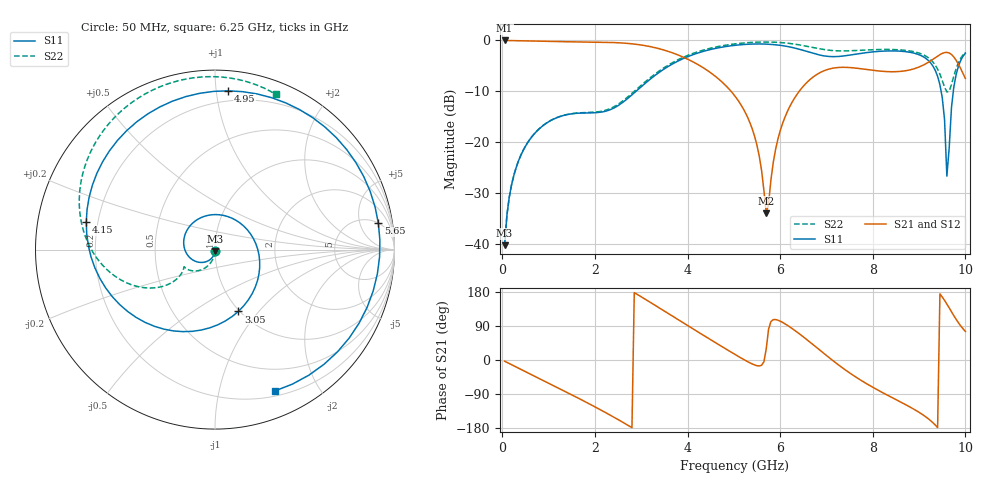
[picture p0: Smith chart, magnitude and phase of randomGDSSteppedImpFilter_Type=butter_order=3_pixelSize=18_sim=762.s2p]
! freq	dB(S11)	phase(S11)	dB(S12)	phase(S12)
!  dB(S21)	phase(S21)	dB(S22)	phase(S22)
!S-par simulation data
#  GHz  S  DB  R 50
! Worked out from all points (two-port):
!   200 points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, 50 MHz to 10 GHz, reference 50 ohm
!   highest |S21| = -0.01 dB at 50 MHz (marker M1); lowest = -33.9 dB at 5.7 GHz (marker M2)
!   |S21| within 3 dB of the highest: start of sweep to 3.837 GHz; 9.412 GHz to 9.726 GHz (313.2 MHz wide, 3.27 % of centre)
!   lowest |S11| = -40.2 dB at 50 MHz (marker M3), VSWR 1.02, Z = 49.9 - j0.975 ohm
!   |S11| at or under -10 dB: start of sweep to 2.884 GHz; 9.476 GHz to 9.739 GHz (262.9 MHz wide, 2.74 % of centre)
!   |S22| runs from -40.3 to -0.3 dB; largest |S21 - S12| = 0
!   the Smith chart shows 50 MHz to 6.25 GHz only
!   S11 on the Smith chart (normalised r, x): 50 MHz: 1.00, -0.02; 3.05 GHz: 0.99, -0.79; 4.15 GHz: 0.16, +0.10; 4.95 GHz: 0.13, +1.08; 5.65 GHz: 5, +10; 6.25 GHz: 0.25, -1.48
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0.05  -40.20 -93.2  -0.01 -3.1  -0.01 -3.1  -40.33 -89.3
0.2  -28.32 -105.6  -0.03 -12.4  -0.03 -12.4  -28.29 -98.7
0.5  -20.75 -130.2  -0.08 -30.8  -0.08 -30.8  -20.72 -112.1
1.75  -14.23 114.4  -0.30 -107.5  -0.30 -107.5  -14.16 -150.5
2.45  -13.05 16.1  -0.43 -153.7  -0.43 -153.7  -12.80 -144.5
3.05  -8.68 -69.3  -0.97 163.1  -0.97 163.1  -8.40 -146.4
3.4  -6.18 -111.4  -1.65 136.7  -1.65 136.7  -5.92 -157.3
4.15  -2.69 167.8  -4.36 79.7  -4.36 79.7  -2.44 169.4
4.95  -1.04 85.3  -10.08 20.1  -10.08 20.1  -0.76 130.7
5.05  -0.93 74.8  -11.23 12.8  -11.23 12.8  -0.65 125.9
5.65  -0.71 9.1  -29.48 -4.5  -29.48 -4.5  -0.31 96.9
5.7  -0.72 3.3  -33.90 30.0  -33.90 30.0  -0.31 94.5
6.25  -1.36 -67.2  -12.25 83.8  -12.25 83.8  -0.64 68.5
6.7  -2.49 -138.5  -7.26 41.6  -7.26 41.6  -1.37 49.8
7  -3.10 167.8  -5.77 11.8  -5.77 11.8  -1.85 40.1
7.45  -2.95 93.0  -5.29 -29.9  -5.29 -29.9  -2.05 27.1
8.35  -2.06 -4.3  -6.13 -95.0  -6.13 -95.0  -1.77 -5.2
9.35  -5.88 -90.9  -3.39 -171.6  -3.39 -171.6  -4.86 -52.8
9.5  -11.19 -112.2  -2.55 166.3  -2.55 166.3  -7.84 -53.9
9.6  -26.59 -115.4  -2.34 147.8  -2.34 147.8  -10.10 -37.4
9.75  -9.14 13.5  -3.24 117.1  -3.24 117.1  -7.00 -8.0
10  -2.50 -26.6  -7.46 75.5  -7.46 75.5  -2.33 -21.8
